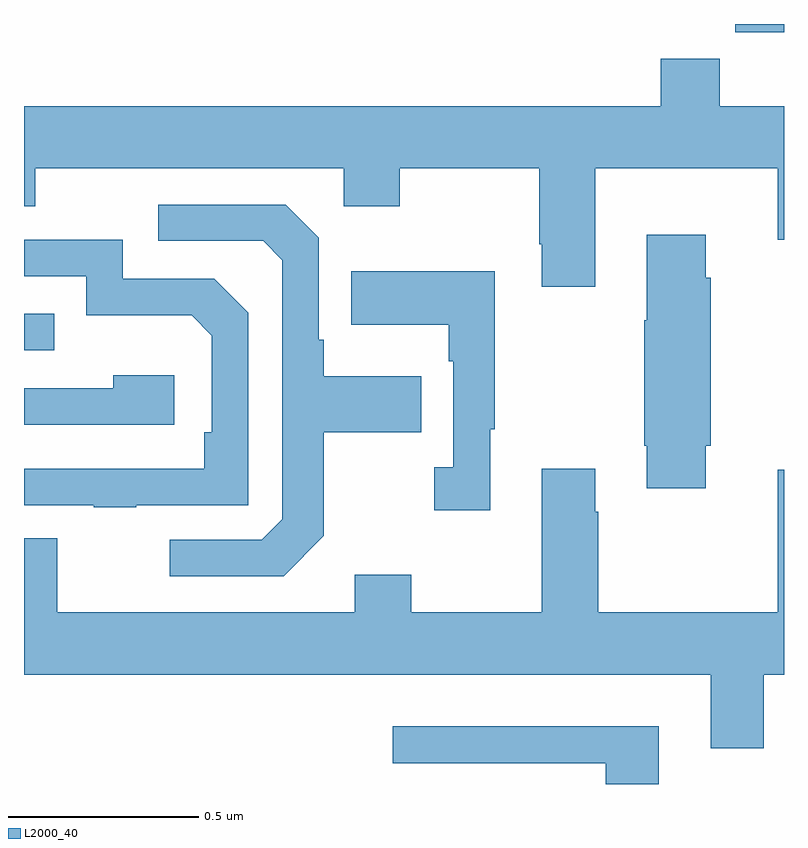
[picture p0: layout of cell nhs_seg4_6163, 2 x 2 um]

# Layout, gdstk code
import gdstk
lib = gdstk.Library(unit=1e-6, precision=1e-09)
def R(c, l, rs):  # rectangles x0, y0, x1, y1
    for r in rs: c.add(gdstk.rectangle(r[:2], r[2:], *l))
def P(c, l, *ps):  # polygons
    for p in ps: c.add(gdstk.Polygon(p, *l))
L2000_40 = (2000, 40)

nhs_seg4_6163 = lib.new_cell('nhs_seg4_6163')
R(nhs_seg4_6163, L2000_40, [(187,763.041,187.079,763.137), (188.872,763.878,189,763.9)])
P(nhs_seg4_6163, L2000_40, [(188.503,763.52),(188.984,763.52),(188.984,763.332),(189,763.332),(189,763.684),(188.831,763.684),(188.831,763.808),(188.675,763.808),(188.675,763.684),(187,763.684),(187,763.421),(187.029,763.421),(187.029,763.52),(187.842,763.52),(187.842,763.421),(187.989,763.421),(187.989,763.52),(188.356,763.52),(188.356,763.321),(188.363,763.321),(188.363,763.209),(188.503,763.209)],
  [(187.789,762.553),(187.789,762.826),(188.045,762.826),(188.045,762.973),(187.789,762.973),(187.789,763.069),(187.776,763.069),(187.776,763.338),(187.689,763.425),(187.353,763.425),(187.353,763.329),(187.629,763.329),(187.68,763.278),(187.68,762.597),(187.626,762.543),(187.383,762.543),(187.383,762.447),(187.683,762.447)],
  [(188.794,762.79),(188.807,762.79),(188.807,763.232),(188.794,763.232),(188.794,763.345),(188.639,763.345),(188.639,763.121),(188.632,763.121),(188.632,762.79),(188.639,762.79),(188.639,762.678),(188.794,762.678)],
  [(187.295,762.633),(187.59,762.633),(187.59,763.14),(187.5,763.23),(187.26,763.23),(187.26,763.332),(187,763.332),(187,763.236),(187.164,763.236),(187.164,763.133),(187.441,763.133),(187.494,763.08),(187.494,762.826),(187.474,762.826),(187.474,762.729),(187,762.729),(187,762.633),(187.183,762.633),(187.183,762.628),(187.295,762.628)],
  [(188.227,762.833),(188.239,762.833),(188.239,763.249),(187.861,763.249),(187.861,763.109),(188.118,763.109),(188.118,763.013),(188.13,763.013),(188.13,762.734),(188.079,762.734),(188.079,762.621),(188.227,762.621)],
  [(187.396,762.976),(187.235,762.976),(187.235,762.942),(187,762.942),(187,762.846),(187.396,762.846)],
  [(188.947,762.188),(189,762.188),(189,762.727),(188.984,762.727),(188.984,762.352),(188.511,762.352),(188.511,762.617),(188.503,762.617),(188.503,762.73),(188.363,762.73),(188.363,762.352),(188.019,762.352),(188.019,762.451),(187.871,762.451),(187.871,762.352),(187.087,762.352),(187.087,762.547),(187,762.547),(187,762.188),(188.807,762.188),(188.807,761.994),(188.947,761.994)],
  [(188.671,762.052),(187.971,762.052),(187.971,761.955),(188.531,761.955),(188.531,761.9),(188.671,761.9)])

lib.write_gds('nhs_seg4_6163.gds')
